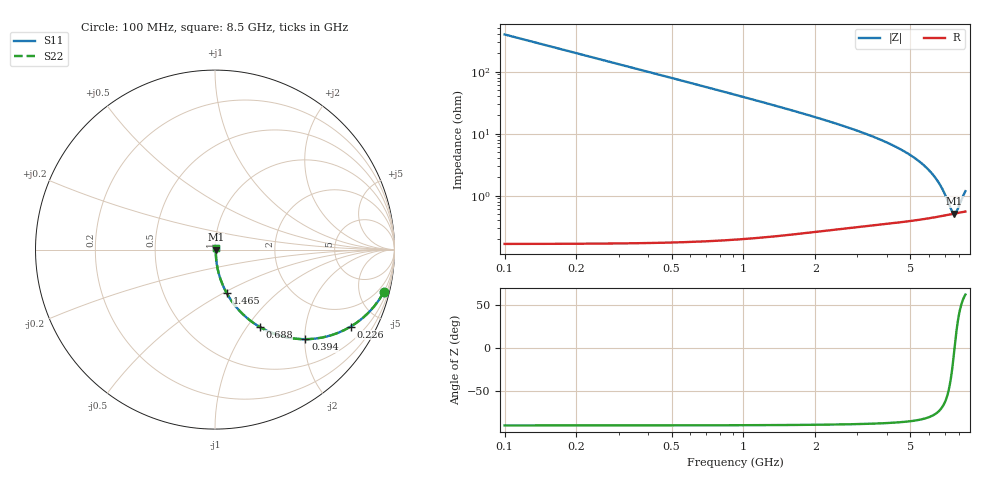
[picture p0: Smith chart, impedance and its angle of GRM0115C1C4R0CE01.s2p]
!Murata Part Number: GRM0115C1C4R0CE01
!These Parameters are Measured in Series Mode Connection
!Data Generated on Mar 30, 2021
!  o--ll--o
!Port1  Port2
!  o------o
!Operation Temp=25[degC], DC Bias Voltage=0[V]
!Freq. Start=100[MHz] Stop=9[GHz] 401[Steps]
# Hz S RI R 50
!Freq.(Hz) S11(Real) S11(Imag) S21(Real) S21(Imag) S12(Real) S12(Imag) S22(Real) S22(Imag)
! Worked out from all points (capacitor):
!   401 points, 100 MHz to 8.5 GHz, reference 50 ohm
!   read as one part in series: C = 4 pF near 142 MHz
!   lowest |Z| = 514 mohm at 7.639 GHz (marker M1)
!   series resonance near 7.656 GHz, so ESL is about 110 pH
!   S11 on the Smith chart (normalised r, x): 100 MHz: 1.00, -7.96; 226 MHz: 1.00, -3.52; 394 MHz: 1.00, -2.01; 688 MHz: 1.00, -1.15; 1.465 GHz: 1.00, -0.52; 8.5 GHz: 1.01, +0.02
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1e8  0.9405 -0.2364  0.0595 0.2364  0.0595 0.2364  0.9405 -0.2364
1.42e8  0.8868 -0.3165  0.1132 0.3165  0.1132 0.3165  0.8868 -0.3165
1.84e8  0.8234 -0.3809  0.1766 0.3809  0.1766 0.3809  0.8234 -0.3809
2.26e8  0.7555 -0.4293  0.2445 0.4293  0.2445 0.4293  0.7555 -0.4293
3.1e8  0.6212 -0.4844  0.3788 0.4844  0.3788 0.4844  0.6212 -0.4844
3.94e8  0.5034 -0.4991  0.4966 0.4991  0.4966 0.4991  0.5034 -0.4991
5.41e8  0.3488 -0.4754  0.6512 0.4754  0.6512 0.4754  0.3488 -0.4754
6.88e8  0.2479 -0.4302  0.7521 0.4302  0.7521 0.4302  0.2479 -0.4302
1.003e9  0.1328 -0.3368  0.8672 0.3368  0.8672 0.3368  0.1328 -0.3368
1.465e9  0.0655 -0.2431  0.9345 0.2431  0.9345 0.2431  0.0655 -0.2431
1.507e9  0.062 -0.2367  0.938 0.2367  0.938 0.2367  0.062 -0.2367
2.116e9  0.0314 -0.1668  0.9686 0.1668  0.9686 0.1668  0.0314 -0.1668
2.914e9  0.0162 -0.1136  0.9838 0.1136  0.9838 0.1136  0.0162 -0.1136
4.3e9  0.00747 -0.0619  0.9925 0.0619  0.9925 0.0619  0.00747 -0.0619
5.707e9  0.00508 -0.0301  0.9949 0.0301  0.9949 0.0301  0.00508 -0.0301
6.505e9  0.00481 -0.0164  0.9952 0.0164  0.9952 0.0164  0.00481 -0.0164
6.82e9  0.00483 -0.0116  0.9952 0.0116  0.9952 0.0116  0.00483 -0.0116
7.114e9  0.00489 -0.00734  0.9951 0.00734  0.9951 0.00734  0.00489 -0.00734
7.45e9  0.00502 -0.00271  0.995 0.00271  0.995 0.00271  0.00502 -0.00271
7.639e9  0.00511 -0.00022  0.9949 0.00022  0.9949 0.00022  0.00511 -0.00022
7.828e9  0.00521 0.0022  0.9948 -0.0022  0.9948 -0.0022  0.00521 0.0022
8.5e9  0.00562 0.0103  0.9944 -0.0103  0.9944 -0.0103  0.00562 0.0103
